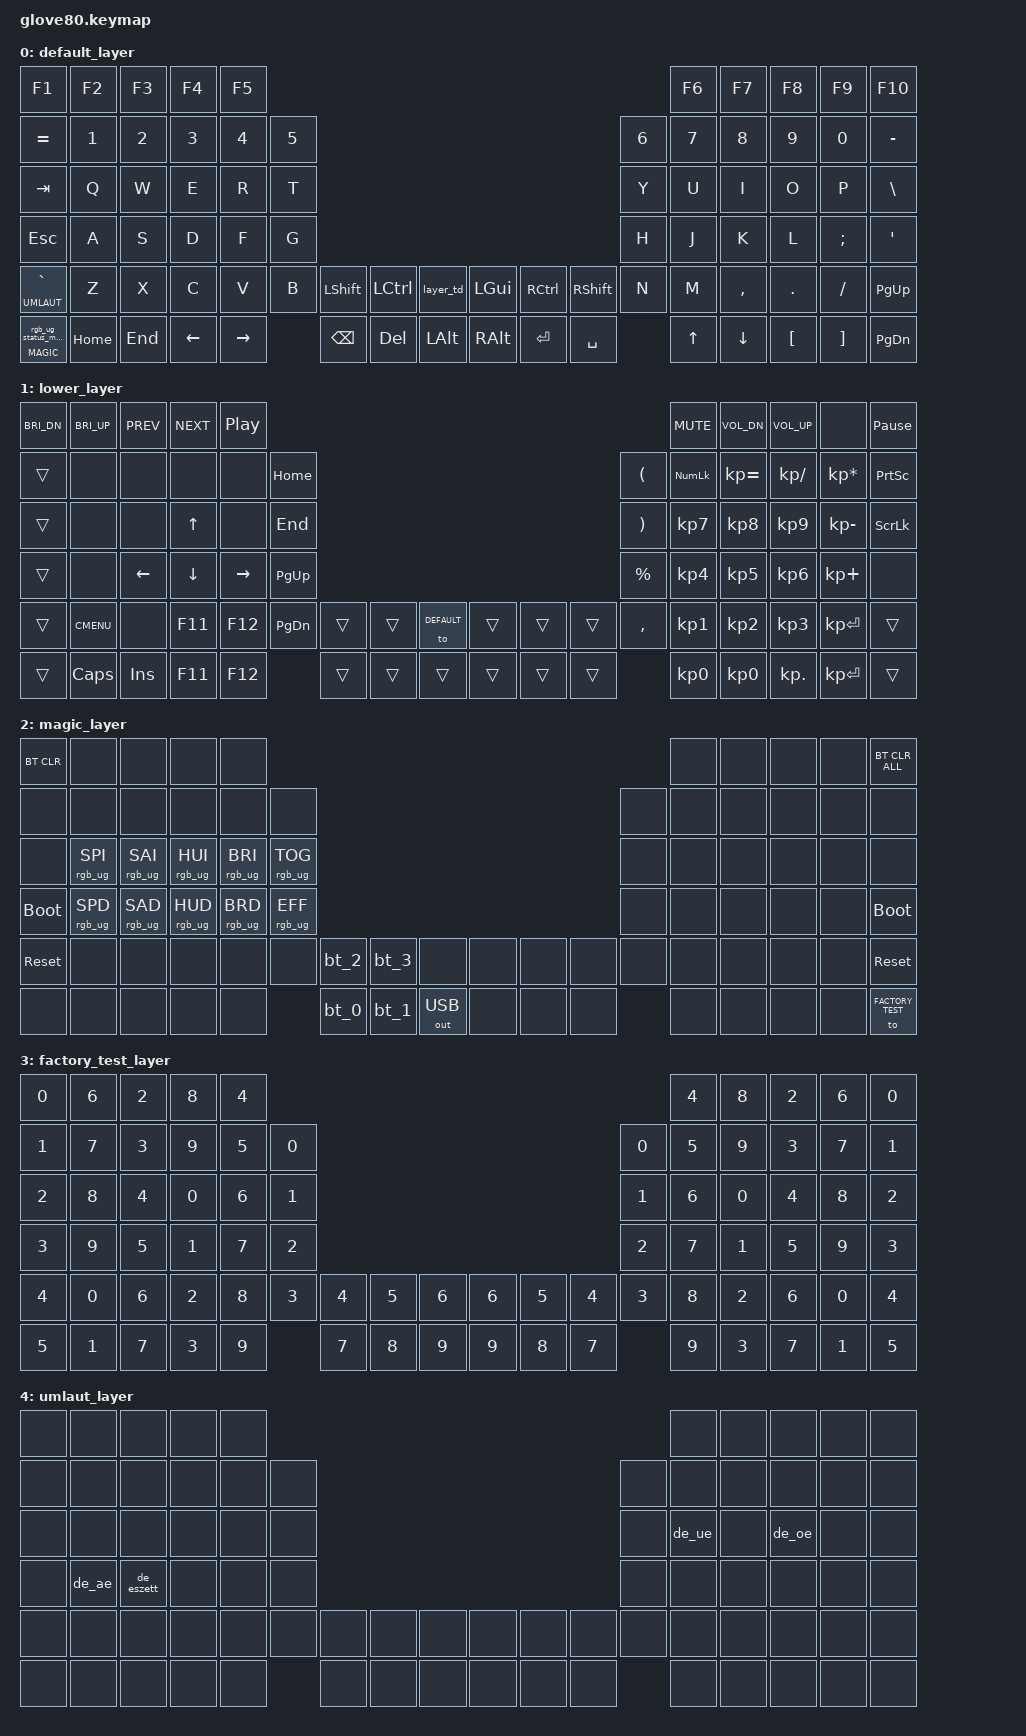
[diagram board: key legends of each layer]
/*
 * Copyright (c) 2020 The ZMK Contributors
 *
 * SPDX-License-Identifier: MIT
 */

#include <behaviors.dtsi>
#include <dt-bindings/zmk/keys.h>
#include <dt-bindings/zmk/bt.h>
#include <dt-bindings/zmk/ext_power.h>
#include <dt-bindings/zmk/outputs.h>
#include <dt-bindings/zmk/rgb.h>

// zmk-nodefre-start
/*
 * helper.h
 *
 * Convenience macros simplifying ZMK's keymap configuration.
 * See https://github.com/urob/zmk-nodefree-config for documentation.
 */

#pragma once

#define ZMK_HELPER_STRINGIFY(x) #x

/* ZMK_BEHAVIOR */

#define ZMK_BEHAVIOR_CORE_caps_word       compatible = "zmk,behavior-caps-word";       #binding-cells = <0>
#define ZMK_BEHAVIOR_CORE_dynamic_macro   compatible = "zmk,behavior-dynamic-macro";   #binding-cells = <1>
#define ZMK_BEHAVIOR_CORE_hold_tap        compatible = "zmk,behavior-hold-tap";        #binding-cells = <2>
#define ZMK_BEHAVIOR_CORE_key_repeat      compatible = "zmk,behavior-key-repeat";      #binding-cells = <0>
#define ZMK_BEHAVIOR_CORE_macro           compatible = "zmk,behavior-macro";           #binding-cells = <0>
#define ZMK_BEHAVIOR_CORE_macro_one_param compatible = "zmk,behavior-macro-one-param"; #binding-cells = <1>
#define ZMK_BEHAVIOR_CORE_macro_two_param compatible = "zmk,behavior-macro-two-param"; #binding-cells = <2>
#define ZMK_BEHAVIOR_CORE_mod_morph       compatible = "zmk,behavior-mod-morph";       #binding-cells = <0>
#define ZMK_BEHAVIOR_CORE_sticky_key      compatible = "zmk,behavior-sticky-key";      #binding-cells = <1>
#define ZMK_BEHAVIOR_CORE_tap_dance       compatible = "zmk,behavior-tap-dance";       #binding-cells = <0>
#define ZMK_BEHAVIOR_CORE_tri_state       compatible = "zmk,behavior-tri-state";       #binding-cells = <0>

#define ZMK_BEHAVIOR(name, type, ...) \
    / { \
        behaviors { \
            name: name { \
                label = ZMK_HELPER_STRINGIFY(ZB_ ## name); \
                ZMK_BEHAVIOR_CORE_ ## type; \
                __VA_ARGS__ \
            }; \
        }; \
    };

/* ZMK_LAYER */

#define MACRO_CHOOSER3(_1, _2, _3, FUNC, ...) FUNC
#define ZMK_LAYER(...) MACRO_CHOOSER3(__VA_ARGS__, ZMK_LAYER_3_ARGS, ZMK_LAYER_2_ARGS)(__VA_ARGS__)
#define ZMK_LAYER_2_ARGS(name, layout) \
    / { \
        keymap { \
            compatible = "zmk,keymap"; \
            layer_ ## name { \
                label = ZMK_HELPER_STRINGIFY(name); \
                bindings = <layout>; \
            }; \
        }; \
    };
#define ZMK_LAYER_3_ARGS(name, layout, sensors) \
    / { \
        keymap { \
            compatible = "zmk,keymap"; \
            layer_ ## name { \
                label = ZMK_HELPER_STRINGIFY(name); \
                bindings = <layout>; \
                sensor-bindings = <sensors>; \
            }; \
        }; \
    };

/* ZMK_COMBOS */

#define ALL 0xff
#if !defined COMBO_TERM
    #define COMBO_TERM 30
#endif
#if !defined COMBO_HOOK
    #define COMBO_HOOK
#endif

#define MACRO_CHOOSER5(_1, _2, _3, _4, _5, FUNC, ...) FUNC
#define ZMK_COMBO(...) MACRO_CHOOSER5(__VA_ARGS__, ZMK_COMBO_5_ARGS, ZMK_COMBO_4_ARGS)(__VA_ARGS__)
#define ZMK_COMBO_4_ARGS(name, combo_bindings, keypos, combo_layers) \
    ZMK_COMBO_5_ARGS(name, combo_bindings, keypos, combo_layers, COMBO_TERM)
#define ZMK_COMBO_5_ARGS(name, combo_bindings, keypos, combo_layers, combo_timeout) \
    / { \
        combos { \
            compatible = "zmk,combos"; \
            combo_ ## name { \
                timeout-ms = <combo_timeout>; \
                bindings = <combo_bindings>; \
                key-positions = <keypos>; \
                layers = <combo_layers>; \
                COMBO_HOOK \
            }; \
        }; \
    };

/* ZMK_CONDITIONAL_LAYER */

#define ZMK_CONDITIONAL_LAYER(if_layers, then_layer) \
    / { \
        conditional_layers { \
            compatible = "zmk,conditional-layers"; \
            tri_layer { \
                if-layers = <if_layers>; \
                then-layer = <then_layer>; \
            }; \
        }; \
    };

/* ZMK_UNICODE */

#if !defined OS_UNICODE_LEAD
    #if HOST_OS == 2
        #define OS_UNICODE_LEAD &macro_press &kp LALT      // macOS/Windows-Alt-Codes
    #elif HOST_OS == 1
        #define OS_UNICODE_LEAD &macro_tap &kp LS(LC(U))   // Linux
    #else
        #define OS_UNICODE_LEAD &macro_tap &kp RALT &kp U  // Windows + WinCompose (default)
    #endif
#endif
#if !defined OS_UNICODE_TRAIL
    #if HOST_OS == 2
        #define OS_UNICODE_TRAIL &macro_release &kp LALT  // macOS/Windows-Alt-Codes
    #elif HOST_OS == 1
        #define OS_UNICODE_TRAIL &macro_tap &kp SPACE     // Linux
    #else
        #define OS_UNICODE_TRAIL &macro_tap &kp RET       // Windows + WinCompose (default)
    #endif
#endif

#define UC_MACRO(name, unicode_bindings) \
    / { \
        macros { \
            name: name { \
                compatible = "zmk,behavior-macro"; \
                label = ZMK_HELPER_STRINGIFY(UC_MACRO_ ## name); \
                wait-ms = <0>; \
                tap-ms = <0>; \
                #binding-cells = <0>; \
                bindings = <OS_UNICODE_LEAD>, <&macro_tap unicode_bindings>, <OS_UNICODE_TRAIL>; \
            }; \
        }; \
    };

#define UC_MODMORPH(name, uc_binding, shifted_uc_binding) \
    / { \
        behaviors { \
            name: name { \
                compatible = "zmk,behavior-mod-morph"; \
                label = ZMK_HELPER_STRINGIFY(UC_MORPH_ ## name); \
                #binding-cells = <0>; \
                bindings = <uc_binding>, <shifted_uc_binding>; \
                mods = <(MOD_LSFT|MOD_RSFT)>; \
            }; \
        }; \
    };

#define ZMK_UNICODE_SINGLE(name, L0, L1, L2, L3) \
    UC_MACRO(name ## _lower, &kp L0 &kp L1 &kp L2 &kp L3) \
    UC_MODMORPH(name, &name ## _lower, &none)

#define ZMK_UNICODE_PAIR(name, L0, L1, L2, L3, U0, U1, U2, U3) \
    UC_MACRO(name ## _lower, &kp L0 &kp L1 &kp L2 &kp L3) \
    UC_MACRO(name ## _upper, &kp U0 &kp U1 &kp U2 &kp U3) \
    UC_MODMORPH(name, &name ## _lower, &name ## _upper)
// zmk-nodefree-stop

/* German umlauts */
ZMK_UNICODE_PAIR(   de_ae,      N0, N0,  E, N4,    N0, N0,  C, N4)
ZMK_UNICODE_PAIR(   de_oe,      N0, N0,  F, N6,    N0, N0,  D, N6)
ZMK_UNICODE_PAIR(   de_ue,      N0, N0,  F,  C,    N0, N0,  D,  C)
ZMK_UNICODE_PAIR(de_eszett,     N0, N0,  D,  F,    N1, E,   N9, E)

#define HYPER LC(LS(LG(LALT)))

// layers
#define DEFAULT 0
#define LOWER 1
#define MAGIC 2
#define FACTORY_TEST 3
#define UMLAUT 4

/ {
    behaviors {
        // For the "layer" key, it'd nice to be able to use it as either a shift or a toggle.
        // Configure it as a tap dance, so the first tap (or hold) is a &mo and the second tap is a &to
        layer_td: tap_dance_0 {
            compatible = "zmk,behavior-tap-dance";
            label = "LAYER_TAP_DANCE";
            #binding-cells = <0>;
            tapping-term-ms = <200>;
            bindings = <&mo LOWER>, <&to LOWER>;
        };

        magic: magic_hold_tap {
            compatible = "zmk,behavior-hold-tap";
            label = "MAGIC_HOLD_TAP";
            #binding-cells = <2>;
            flavor = "tap-preferred";
            tapping-term-ms = <200>;
            bindings = <&mo>, <&rgb_ug_status_macro>;
        };

        layr_p: layer_press_hold_tap {
            compatible = "zmk,behavior-hold-tap";
            label = "TILDE_HOLD_TAP";
            #binding-cells = <2>;
            flavor = "tap-preferred";
            tapping-term-ms = <200>;
            bindings = <&mo>, <&kp>;
        };
    };

    macros {
        rgb_ug_status_macro: rgb_ug_status_macro_0 {
            label = "RGB_UG_STATUS";
            compatible = "zmk,behavior-macro";
            #binding-cells = <0>;
            bindings
                = <&rgb_ug RGB_STATUS>;
        };

        bt_0: bt_profile_macro_0 {
            label = "BT_0";
            compatible = "zmk,behavior-macro";
            #binding-cells = <0>;
            bindings
                = <&out OUT_BLE>,
                  <&bt BT_SEL 0>;
        };

        bt_1: bt_profile_macro_1 {
            label = "BT_1";
            compatible = "zmk,behavior-macro";
            #binding-cells = <0>;
            bindings
                = <&out OUT_BLE>,
                  <&bt BT_SEL 1>;
        };

        bt_2: bt_profile_macro_2 {
            label = "BT_2";
            compatible = "zmk,behavior-macro";
            #binding-cells = <0>;
            bindings
                = <&out OUT_BLE>,
                  <&bt BT_SEL 2>;
        };

        bt_3: bt_profile_macro_3 {
            label = "BT_3";
            compatible = "zmk,behavior-macro";
            #binding-cells = <0>;
            bindings
                = <&out OUT_BLE>,
                  <&bt BT_SEL 3>;
        };
    };

    keymap {
        compatible = "zmk,keymap";

        default_layer {
            // ---------------------------------------------------------------------------------------------------------------------------------
            // |  F1   |  F2 |  F3 |  F4  |  F5  |                                                               |  F6   |  F7   |  F8  |   F9  |  F10 |
            // |  =    |  1  |  2  |  3   |  4   |  5   |                                                 |  6   |   7   |   8   |  9   |   0   |   -  |
            // |  TAB  |  Q  |  W  |  E   |  R   |  T   |                                                 |  Y   |   U   |   I   |  O   |   P   |   \  |
            // |  ESC  |  A  |  S  |  D   |  F   |  G   |                                                 |  H   |   J   |   K   |  L   |   ;   |   '  |
            // |   `   |  Z  |  X  |  C   |  V   |  B   | LSHFT | LCTRL | LOWER | | LGUI  | RCTRL | RSHFT |  N   |   M   |   ,   |  .   |   /   | PGUP |
            // | MAGIC | HOME| END | LEFT | RIGHT|      | BSPC  | DEL   | LALT  | | RALT  | RET   | SPACE |      |  UP   | DOWN  |  [   |   ]   | PGDN |

            bindings = <
            &kp F1                &kp F2   &kp F3      &kp F4      &kp F5                                                                                         &kp F6  &kp F7      &kp F8      &kp F9      &kp F10
            &kp EQUAL             &kp N1   &kp N2      &kp N3      &kp N4      &kp N5                                                                     &kp N6  &kp N7  &kp N8      &kp N9      &kp N0      &kp MINUS
            &kp TAB               &kp Q    &kp W       &kp E       &kp R       &kp T                                                                      &kp Y   &kp U   &kp I       &kp O       &kp P       &kp BSLH
            &kp ESC               &kp A    &kp S       &kp D       &kp F       &kp G                                                                      &kp H   &kp J   &kp K       &kp L       &kp SEMI    &kp SQT
            &layr_p UMLAUT GRAVE  &kp Z    &kp X       &kp C       &kp V       &kp B   &kp LSHFT   &kp LCTRL   &layer_td  &kp LGUI  &kp RCTRL &kp RSHFT   &kp N   &kp M   &kp COMMA   &kp DOT     &kp FSLH    &kp PG_UP
            &magic MAGIC 0        &kp HOME &kp END     &kp LEFT    &kp RIGHT           &kp BSPC    &kp DEL     &kp LALT   &kp RALT  &kp RET   &kp SPACE           &kp UP  &kp DOWN    &kp LBKT    &kp RBKT    &kp PG_DN
            >;
        };

        lower_layer {
            bindings = <
            &kp C_BRI_DN      &kp C_BRI_UP        &kp C_PREV      &kp C_NEXT      &kp C_PP                                                                                                           &kp C_MUTE   &kp C_VOL_DN &kp C_VOL_UP  &none           &kp PAUSE_BREAK
            &trans            &none               &none           &none           &none           &kp HOME                                                                              &kp LPAR     &kp KP_NUM   &kp KP_EQUAL &kp KP_DIVIDE &kp KP_MULTIPLY &kp PSCRN
            &trans            &none               &none           &kp UP          &none           &kp END                                                                               &kp RPAR     &kp KP_N7    &kp KP_N8    &kp KP_N9     &kp KP_MINUS    &kp SLCK
            &trans            &none               &kp LEFT        &kp DOWN        &kp RIGHT       &kp PG_UP                                                                             &kp PRCNT    &kp KP_N4    &kp KP_N5    &kp KP_N6     &kp KP_PLUS     &none
            &trans            &kp K_CMENU         &none           &kp F11         &kp F12         &kp PG_DN       &trans      &trans      &to DEFAULT &trans      &trans      &trans    &kp COMMA    &kp KP_N1    &kp KP_N2    &kp KP_N3     &kp KP_ENTER    &trans
            &trans            &kp CAPS            &kp INS         &kp F11         &kp F12                         &trans      &trans      &trans      &trans      &trans      &trans                 &kp KP_N0    &kp KP_N0    &kp KP_DOT    &kp KP_ENTER    &trans
            >;
        };

        magic_layer {
            bindings = <
            &bt BT_CLR        &none               &none           &none           &none                                                                                                           &none      &none      &none      &none      &bt BT_CLR_ALL
            &none             &none               &none           &none           &none           &none                                                                                &none      &none      &none      &none      &none      &none
            &none             &rgb_ug RGB_SPI     &rgb_ug RGB_SAI &rgb_ug RGB_HUI &rgb_ug RGB_BRI &rgb_ug RGB_TOG                                                                      &none      &none      &none      &none      &none      &none
            &bootloader       &rgb_ug RGB_SPD     &rgb_ug RGB_SAD &rgb_ug RGB_HUD &rgb_ug RGB_BRD &rgb_ug RGB_EFF                                                                      &none      &none      &none      &none      &none      &bootloader
            &sys_reset        &none               &none           &none           &none           &none           &bt_2     &bt_3     &none            &none     &none     &none       &none      &none      &none      &none      &none      &sys_reset
            &none             &none               &none           &none           &none                           &bt_0     &bt_1     &out OUT_USB     &none     &none     &none                  &none      &none      &none      &none      &to FACTORY_TEST
            >;
        };

        factory_test_layer {
            bindings = <
            &kp N0   &kp N6   &kp N2   &kp N8   &kp N4                                                                              &kp N4   &kp N8   &kp N2   &kp N6   &kp N0
            &kp N1   &kp N7   &kp N3   &kp N9   &kp N5   &kp N0                                                            &kp N0   &kp N5   &kp N9   &kp N3   &kp N7   &kp N1
            &kp N2   &kp N8   &kp N4   &kp N0   &kp N6   &kp N1                                                            &kp N1   &kp N6   &kp N0   &kp N4   &kp N8   &kp N2
            &kp N3   &kp N9   &kp N5   &kp N1   &kp N7   &kp N2                                                            &kp N2   &kp N7   &kp N1   &kp N5   &kp N9   &kp N3
            &kp N4   &kp N0   &kp N6   &kp N2   &kp N8   &kp N3   &kp N4   &kp N5   &kp N6      &kp N6   &kp N5   &kp N4   &kp N3   &kp N8   &kp N2   &kp N6   &kp N0   &kp N4
            &kp N5   &kp N1   &kp N7   &kp N3   &kp N9            &kp N7   &kp N8   &kp N9      &kp N9   &kp N8   &kp N7            &kp N9   &kp N3   &kp N7   &kp N1   &kp N5
            >;
        };

        umlaut_layer {
            bindings = <
            &none             &none               &none           &none           &none                                                                                                           &none      &none      &none      &none      &none
            &none             &none               &none           &none           &none           &none                                                                                &none      &none      &none      &none      &none      &none
            &none             &none               &none           &none           &none           &none                                                                                &none      &de_ue     &none      &de_oe     &none      &none
            &none             &de_ae              &de_eszett      &none           &none           &none                                                                                &none      &none      &none      &none      &none      &none
            &none             &none               &none           &none           &none           &none           &none     &none     &none            &none     &none     &none       &none      &none      &none      &none      &none      &none
            &none             &none               &none           &none           &none                           &none     &none     &none            &none     &none     &none                  &none      &none      &none      &none      &none
            >;
        };
    };
};
